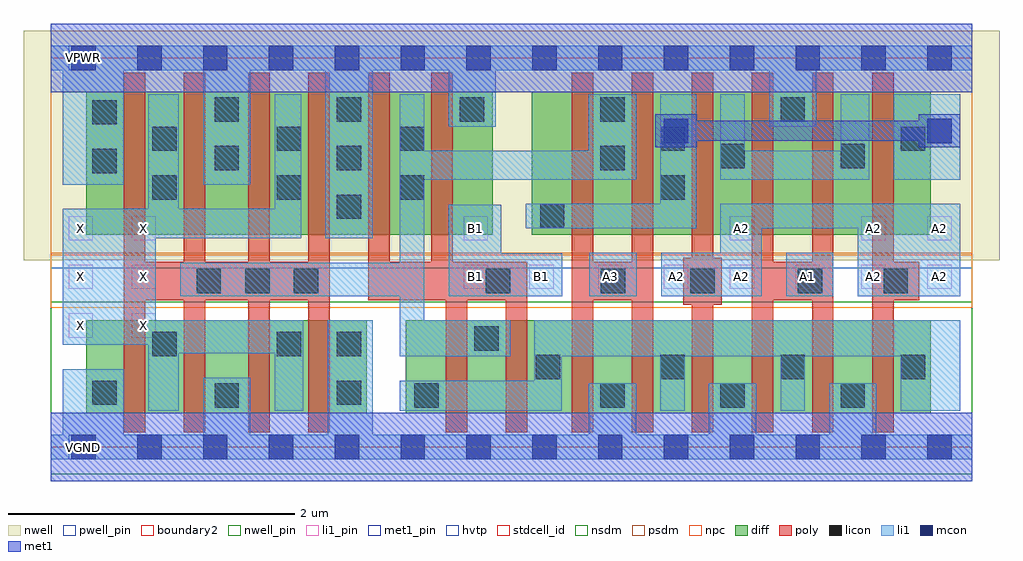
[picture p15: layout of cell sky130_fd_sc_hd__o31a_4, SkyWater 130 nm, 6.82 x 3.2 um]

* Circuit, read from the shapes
.subckt sky130_fd_sc_hd__o31a_4 A1 A2 A3 B1 VGND VNB VPB VPWR X
XM1 X n1 VGND VNB sky130_fd_pr__nfet_01v8 w=0.65 l=0.15 m=4
XM2 n1 B1 n2 VNB sky130_fd_pr__nfet_01v8 w=0.65 l=0.15 m=2
XM3 VGND A3 n2 VNB sky130_fd_pr__nfet_01v8 w=0.65 l=0.15 m=2
XM4 VGND A2 n2 VNB sky130_fd_pr__nfet_01v8 w=0.65 l=0.15 m=2
XM5 n2 A1 VGND VNB sky130_fd_pr__nfet_01v8 w=0.65 l=0.15 m=2
XM6 X n1 VPWR VPB sky130_fd_pr__pfet_01v8_hvt w=1 l=0.15 m=4
XM7 n1 B1 VPWR VPB sky130_fd_pr__pfet_01v8_hvt w=1 l=0.15 m=2
XM8 n1 A3 n3 VPB sky130_fd_pr__pfet_01v8_hvt w=1 l=0.15 m=2
XM9 n4 A2 n3 VPB sky130_fd_pr__pfet_01v8_hvt w=1 l=0.15 m=2
XM10 VPWR A1 n4 VPB sky130_fd_pr__pfet_01v8_hvt w=1 l=0.15 m=2
.ends

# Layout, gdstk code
import gdstk
lib = gdstk.Library(unit=1e-6, precision=1e-09)
def R(c, l, rs):  # rectangles x0, y0, x1, y1
    for r in rs: c.add(gdstk.rectangle(r[:2], r[2:], *l))
def A(c, l, x, y, w, h, nx, ny, dx, dy):  # array of equal rectangles
    R(c, l, [(x+i*dx, y+j*dy, x+i*dx+w, y+j*dy+h) for i in range(nx) for j in range(ny)])
def P(c, l, *ps):  # polygons
    for p in ps: c.add(gdstk.Polygon(p, *l))
nwell_pin = (64, 16)
nwell = (64, 20)
diff = (65, 20)
poly = (66, 20)
licon = (66, 44)
li1_pin = (67, 16)
li1 = (67, 20)
mcon = (67, 44)
met1_pin = (68, 16)
met1 = (68, 20)
hvtp = (78, 44)
stdcell_id = (81, 4)
nsdm = (93, 44)
psdm = (94, 20)
npc = (95, 20)
pwell_pin = (122, 16)
boundary2 = (236, 0)

sky130_fd_sc_hd__o31a_4 = lib.new_cell('sky130_fd_sc_hd__o31a_4')
R(sky130_fd_sc_hd__o31a_4, nwell_pin, [(0.125,2.635,0.295,2.805)])
R(sky130_fd_sc_hd__o31a_4, nwell, [(-0.19,1.305,6.63,2.91)])
R(sky130_fd_sc_hd__o31a_4, diff, [(0.25,0.235,2.21,0.885), (2.48,0.235,6.15,0.885), (0.25,1.485,3.09,2.485), (3.36,1.485,6.15,2.485)])
P(sky130_fd_sc_hd__o31a_4, poly, [(0.51,0.105),(0.51,2.615),(0.66,2.615),(0.66,1.295),(0.93,1.295),(0.93,2.615),(1.08,2.615),(1.08,1.295),(1.38,1.295),(1.38,2.615),(1.53,2.615),(1.53,1.295),(1.8,1.295),(1.8,2.615),(1.95,2.615),(1.95,0.105),(1.8,0.105),(1.8,1.025),(1.53,1.025),(1.53,0.105),(1.38,0.105),(1.38,1.025),(1.08,1.025),(1.08,0.105),(0.93,0.105),(0.93,1.025),(0.66,1.025),(0.66,0.105)],
  [(4.48,0.105),(4.48,0.995),(4.42,0.995),(4.42,1.325),(4.48,1.325),(4.48,2.615),(4.63,2.615),(4.63,1.325),(4.69,1.325),(4.69,0.995),(4.63,0.995),(4.63,0.105)],
  [(2.76,0.105),(2.76,1.025),(2.22,1.025),(2.22,2.615),(2.37,2.615),(2.37,1.295),(2.66,1.295),(2.66,2.615),(2.81,2.615),(2.81,1.295),(3.33,1.295),(3.33,0.105),(3.18,0.105),(3.18,1.025),(2.91,1.025),(2.91,0.105)],
  [(3.64,0.105),(3.64,2.615),(3.79,2.615),(3.79,1.295),(4.06,1.295),(4.06,2.615),(4.21,2.615),(4.21,0.105),(4.06,0.105),(4.06,1.025),(3.79,1.025),(3.79,0.105)],
  [(4.9,0.105),(4.9,2.615),(5.05,2.615),(5.05,1.295),(5.32,1.295),(5.32,2.615),(5.47,2.615),(5.47,0.105),(5.32,0.105),(5.32,1.025),(5.05,1.025),(5.05,0.105)],
  [(5.74,0.105),(5.74,2.615),(5.89,2.615),(5.89,1.295),(6.07,1.295),(6.07,1.025),(5.89,1.025),(5.89,0.105)])
A(sky130_fd_sc_hd__o31a_4, licon, 3.84, 0.275, 0.17, 0.17, 3, 1, 0.84, 0)
A(sky130_fd_sc_hd__o31a_4, licon, 4.26, 0.475, 0.17, 0.17, 3, 1, 0.84, 0)
A(sky130_fd_sc_hd__o31a_4, licon, 1.02, 1.075, 0.17, 0.17, 3, 1, 0.34, 0)
A(sky130_fd_sc_hd__o31a_4, licon, 2, 1.595, 0.17, 0.17, 1, 3, 0, 0.34)
R(sky130_fd_sc_hd__o31a_4, licon, [(1.145,0.275,1.315,0.445), (2.54,0.275,2.71,0.445), (0.29,0.295,0.46,0.465), (2,0.295,2.17,0.465), (3.39,0.475,3.56,0.645), (0.71,0.635,0.88,0.805), (1.58,0.635,1.75,0.805), (2,0.635,2.17,0.805), (2.96,0.675,3.13,0.845), (3.04,1.075,3.21,1.245), (3.845,1.075,4.015,1.245), (4.47,1.075,4.64,1.245), (5.22,1.075,5.39,1.245), (5.82,1.075,5.99,1.245), (3.42,1.53,3.59,1.7), (0.71,1.73,0.88,1.9), (1.58,1.73,1.75,1.9), (2.44,1.73,2.61,1.9), (4.26,1.73,4.43,1.9), (0.29,1.915,0.46,2.085), (1.145,1.935,1.315,2.105), (3.84,1.935,4.01,2.105), (4.68,1.95,4.85,2.12), (5.52,1.95,5.69,2.12), (0.71,2.07,0.88,2.24), (1.58,2.07,1.75,2.24), (2.44,2.07,2.61,2.24), (4.26,2.07,4.43,2.24), (5.94,2.07,6.11,2.24), (0.29,2.255,0.46,2.425), (1.145,2.275,1.315,2.445), (2.86,2.275,3.03,2.445), (3.84,2.275,4.01,2.445), (5.1,2.275,5.27,2.445)])
A(sky130_fd_sc_hd__o31a_4, li1_pin, 0.125, 0.765, 0.17, 0.17, 1, 3, 0, 0.34)
A(sky130_fd_sc_hd__o31a_4, li1_pin, 0.565, 0.765, 0.17, 0.17, 1, 3, 0, 0.34)
A(sky130_fd_sc_hd__o31a_4, li1_pin, 3.825, 1.105, 0.17, 0.17, 6, 1, 0.46, 0)
R(sky130_fd_sc_hd__o31a_4, li1_pin, [(2.885,1.105,3.055,1.275), (3.345,1.105,3.515,1.275), (2.885,1.445,3.055,1.615), (4.745,1.445,4.915,1.615), (5.665,1.445,5.835,1.615), (6.125,1.445,6.295,1.615)])
R(sky130_fd_sc_hd__o31a_4, li1, [(3.765,1.055,4.095,1.36), (5.14,1.055,5.47,1.36), (5.89,1.87,6.355,2.465)])
P(sky130_fd_sc_hd__o31a_4, li1, [(2.78,1.055),(2.78,1.695),(3.15,1.695),(3.15,1.355),(3.575,1.355),(3.575,1.055)],
  [(3.32,1.53),(3.32,1.7),(4.26,1.7),(4.26,2.465),(4.51,2.465),(4.51,1.53)],
  [(4.68,1.87),(4.68,2.465),(4.85,2.465),(4.85,2.07),(5.52,2.07),(5.52,2.465),(5.72,2.465),(5.72,1.87)],
  [(2.44,0.635),(2.44,1.055),(0.905,1.055),(0.905,1.29),(2.44,1.29),(2.44,2.465),(2.61,2.465),(2.61,2.07),(3.76,2.07),(3.76,2.465),(4.09,2.465),(4.09,1.87),(2.61,1.87),(2.61,0.885),(3.21,0.885),(3.21,0.635)],
  [(4.265,1.055),(4.265,1.36),(4.68,1.36),(4.68,1.7),(6.355,1.7),(6.355,1.055),(5.64,1.055),(5.64,1.53),(4.97,1.53),(4.97,1.055)],
  [(2.44,0.255),(2.44,0.465),(3.38,0.465),(3.38,0.885),(6.355,0.885),(6.355,0.255),(5.94,0.255),(5.94,0.635),(5.27,0.635),(5.27,0.255),(5.1,0.255),(5.1,0.635),(4.43,0.635),(4.43,0.255),(4.26,0.255),(4.26,0.635),(3.57,0.635),(3.57,0.255)],
  [(1.92,1.46),(1.92,2.635),(1.395,2.635),(1.395,1.835),(1.065,1.835),(1.065,2.635),(0.51,2.635),(0.51,1.835),(0.085,1.835),(0.085,2.635),(0,2.635),(0,2.805),(6.44,2.805),(6.44,2.635),(5.35,2.635),(5.35,2.24),(5.02,2.24),(5.02,2.635),(3.11,2.635),(3.11,2.24),(2.78,2.24),(2.78,2.635),(2.25,2.635),(2.25,1.46)],
  [(0,-0.085),(0,0.085),(0.085,0.085),(0.085,0.545),(0.51,0.545),(0.51,0.085),(1.065,0.085),(1.065,0.485),(1.395,0.485),(1.395,0.085),(1.935,0.085),(1.935,0.885),(2.25,0.885),(2.25,0.085),(3.76,0.085),(3.76,0.445),(4.09,0.445),(4.09,0.085),(4.6,0.085),(4.6,0.445),(4.93,0.445),(4.93,0.085),(5.44,0.085),(5.44,0.445),(5.77,0.445),(5.77,0.085),(6.44,0.085),(6.44,-0.085)],
  [(0.68,0.255),(0.68,0.715),(0.085,0.715),(0.085,1.665),(0.68,1.665),(0.68,2.465),(0.895,2.465),(0.895,1.665),(1.565,1.665),(1.565,2.465),(1.75,2.465),(1.75,1.46),(0.735,1.46),(0.735,0.885),(1.765,0.885),(1.765,0.255),(1.565,0.255),(1.565,0.655),(0.895,0.655),(0.895,0.255)])
A(sky130_fd_sc_hd__o31a_4, mcon, 0.145, -0.085, 0.17, 0.17, 14, 2, 0.46, 2.72)
R(sky130_fd_sc_hd__o31a_4, mcon, [(4.285,2.125,4.455,2.295), (6.125,2.125,6.295,2.295)])
R(sky130_fd_sc_hd__o31a_4, met1_pin, [(0.125,-0.085,0.295,0.085), (0.125,2.635,0.295,2.805)])
P(sky130_fd_sc_hd__o31a_4, met1, [(4.225,2.095),(4.225,2.325),(4.515,2.325),(4.515,2.28),(6.065,2.28),(6.065,2.325),(6.355,2.325),(6.355,2.095),(6.065,2.095),(6.065,2.14),(4.515,2.14),(4.515,2.095)])
R(sky130_fd_sc_hd__o31a_4, hvtp, [(0,1.25,6.44,2.72)])
R(sky130_fd_sc_hd__o31a_4, stdcell_id, [(0,0,6.44,2.72)])
R(sky130_fd_sc_hd__o31a_4, nsdm, [(0,-0.19,6.44,1.015)])
R(sky130_fd_sc_hd__o31a_4, psdm, [(0,1.355,6.44,2.91)])
R(sky130_fd_sc_hd__o31a_4, npc, [(0,0.975,6.44,1.345)])
R(sky130_fd_sc_hd__o31a_4, pwell_pin, [(0.125,-0.085,0.295,0.085)])
R(sky130_fd_sc_hd__o31a_4, boundary2, [(0,0,6.44,2.72)])
sky130_fd_sc_hd__o31a_4.add(gdstk.FlexPath([(0,0),(6.44,0)], 0.48, ends="flush", simple_path=True, layer=68, datatype=20))  # met1
sky130_fd_sc_hd__o31a_4.add(gdstk.FlexPath([(0,2.72),(6.44,2.72)], 0.48, ends="flush", simple_path=True, layer=68, datatype=20))  # met1
sky130_fd_sc_hd__o31a_4.add(gdstk.Label('A1', (5.29,1.19), layer=67, texttype=5))
sky130_fd_sc_hd__o31a_4.add(gdstk.Label('A2', (4.37,1.19), layer=67, texttype=5))
sky130_fd_sc_hd__o31a_4.add(gdstk.Label('A2', (4.83,1.19), layer=67, texttype=5))
sky130_fd_sc_hd__o31a_4.add(gdstk.Label('A2', (5.75,1.19), layer=67, texttype=5))
sky130_fd_sc_hd__o31a_4.add(gdstk.Label('A2', (6.21,1.19), layer=67, texttype=5))
sky130_fd_sc_hd__o31a_4.add(gdstk.Label('A2', (4.83,1.53), layer=67, texttype=5))
sky130_fd_sc_hd__o31a_4.add(gdstk.Label('A2', (5.75,1.53), layer=67, texttype=5))
sky130_fd_sc_hd__o31a_4.add(gdstk.Label('A2', (6.21,1.53), layer=67, texttype=5))
sky130_fd_sc_hd__o31a_4.add(gdstk.Label('A3', (3.91,1.19), layer=67, texttype=5))
sky130_fd_sc_hd__o31a_4.add(gdstk.Label('B1', (2.97,1.19), layer=67, texttype=5))
sky130_fd_sc_hd__o31a_4.add(gdstk.Label('B1', (3.43,1.19), layer=67, texttype=5))
sky130_fd_sc_hd__o31a_4.add(gdstk.Label('B1', (2.97,1.53), layer=67, texttype=5))
sky130_fd_sc_hd__o31a_4.add(gdstk.Label('X', (0.21,0.85), layer=67, texttype=5))
sky130_fd_sc_hd__o31a_4.add(gdstk.Label('X', (0.65,0.85), layer=67, texttype=5))
sky130_fd_sc_hd__o31a_4.add(gdstk.Label('X', (0.21,1.19), layer=67, texttype=5))
sky130_fd_sc_hd__o31a_4.add(gdstk.Label('X', (0.65,1.19), layer=67, texttype=5))
sky130_fd_sc_hd__o31a_4.add(gdstk.Label('X', (0.21,1.53), layer=67, texttype=5))
sky130_fd_sc_hd__o31a_4.add(gdstk.Label('X', (0.65,1.53), layer=67, texttype=5))
sky130_fd_sc_hd__o31a_4.add(gdstk.Label('VPWR', (0.23,2.72), layer=68, texttype=5))
sky130_fd_sc_hd__o31a_4.add(gdstk.Label('VGND', (0.23,0), layer=68, texttype=5))
sky130_fd_sc_hd__o31a_4.add(gdstk.Label('o31a_4', (0,0), layer=83, texttype=44))
sky130_fd_sc_hd__o31a_4.add(gdstk.Label('VPB', (0.23,2.72), layer=64, texttype=5))
sky130_fd_sc_hd__o31a_4.add(gdstk.Label('VNB', (0.23,0), layer=64, texttype=59))

lib.write_gds('sky130_fd_sc_hd__o31a_4.gds')
